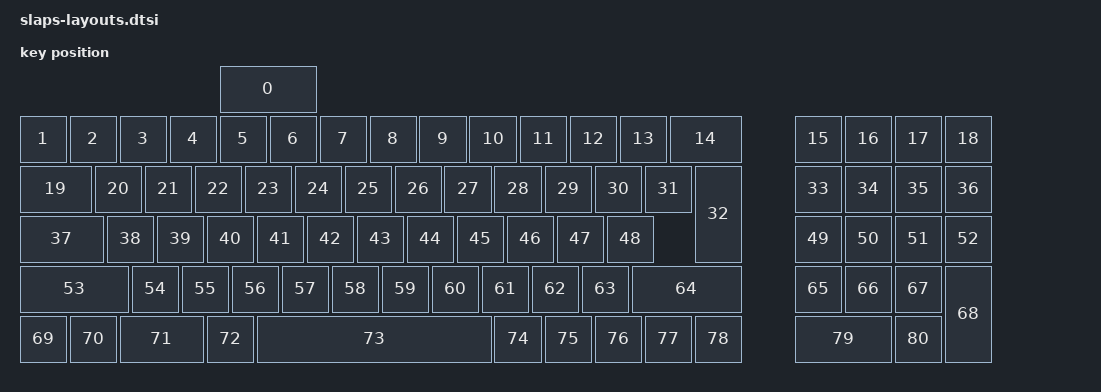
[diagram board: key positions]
#include <physical_layouts.dtsi>

/ {
    layout_0: layout_0 {
        compatible = "zmk,physical-layout";
        display-name = "Layout 0";

        keys  //                     w   h    x    y     rot    rx    ry
            = <&key_physical_attrs 200 100  400    0       0     0     0>
            , <&key_physical_attrs 100 100    0  100       0     0     0>
            , <&key_physical_attrs 100 100  100  100       0     0     0>
            , <&key_physical_attrs 100 100  200  100       0     0     0>
            , <&key_physical_attrs 100 100  300  100       0     0     0>
            , <&key_physical_attrs 100 100  400  100       0     0     0>
            , <&key_physical_attrs 100 100  500  100       0     0     0>
            , <&key_physical_attrs 100 100  600  100       0     0     0>
            , <&key_physical_attrs 100 100  700  100       0     0     0>
            , <&key_physical_attrs 100 100  800  100       0     0     0>
            , <&key_physical_attrs 100 100  900  100       0     0     0>
            , <&key_physical_attrs 100 100 1000  100       0     0     0>
            , <&key_physical_attrs 100 100 1100  100       0     0     0>
            , <&key_physical_attrs 100 100 1200  100       0     0     0>
            , <&key_physical_attrs 150 100 1300  100       0     0     0>
            , <&key_physical_attrs 100 100 1550  100       0     0     0>
            , <&key_physical_attrs 100 100 1650  100       0     0     0>
            , <&key_physical_attrs 100 100 1750  100       0     0     0>
            , <&key_physical_attrs 100 100 1850  100       0     0     0>
            , <&key_physical_attrs 150 100    0  200       0     0     0>
            , <&key_physical_attrs 100 100  150  200       0     0     0>
            , <&key_physical_attrs 100 100  250  200       0     0     0>
            , <&key_physical_attrs 100 100  350  200       0     0     0>
            , <&key_physical_attrs 100 100  450  200       0     0     0>
            , <&key_physical_attrs 100 100  550  200       0     0     0>
            , <&key_physical_attrs 100 100  650  200       0     0     0>
            , <&key_physical_attrs 100 100  750  200       0     0     0>
            , <&key_physical_attrs 100 100  850  200       0     0     0>
            , <&key_physical_attrs 100 100  950  200       0     0     0>
            , <&key_physical_attrs 100 100 1050  200       0     0     0>
            , <&key_physical_attrs 100 100 1150  200       0     0     0>
            , <&key_physical_attrs 100 100 1250  200       0     0     0>
            , <&key_physical_attrs 100 200 1350  200       0     0     0>
            , <&key_physical_attrs 100 100 1550  200       0     0     0>
            , <&key_physical_attrs 100 100 1650  200       0     0     0>
            , <&key_physical_attrs 100 100 1750  200       0     0     0>
            , <&key_physical_attrs 100 100 1850  200       0     0     0>
            , <&key_physical_attrs 175 100    0  300       0     0     0>
            , <&key_physical_attrs 100 100  175  300       0     0     0>
            , <&key_physical_attrs 100 100  275  300       0     0     0>
            , <&key_physical_attrs 100 100  375  300       0     0     0>
            , <&key_physical_attrs 100 100  475  300       0     0     0>
            , <&key_physical_attrs 100 100  575  300       0     0     0>
            , <&key_physical_attrs 100 100  675  300       0     0     0>
            , <&key_physical_attrs 100 100  775  300       0     0     0>
            , <&key_physical_attrs 100 100  875  300       0     0     0>
            , <&key_physical_attrs 100 100  975  300       0     0     0>
            , <&key_physical_attrs 100 100 1075  300       0     0     0>
            , <&key_physical_attrs 100 100 1175  300       0     0     0>
            , <&key_physical_attrs 100 100 1550  300       0     0     0>
            , <&key_physical_attrs 100 100 1650  300       0     0     0>
            , <&key_physical_attrs 100 100 1750  300       0     0     0>
            , <&key_physical_attrs 100 100 1850  300       0     0     0>
            , <&key_physical_attrs 225 100    0  400       0     0     0>
            , <&key_physical_attrs 100 100  225  400       0     0     0>
            , <&key_physical_attrs 100 100  325  400       0     0     0>
            , <&key_physical_attrs 100 100  425  400       0     0     0>
            , <&key_physical_attrs 100 100  525  400       0     0     0>
            , <&key_physical_attrs 100 100  625  400       0     0     0>
            , <&key_physical_attrs 100 100  725  400       0     0     0>
            , <&key_physical_attrs 100 100  825  400       0     0     0>
            , <&key_physical_attrs 100 100  925  400       0     0     0>
            , <&key_physical_attrs 100 100 1025  400       0     0     0>
            , <&key_physical_attrs 100 100 1125  400       0     0     0>
            , <&key_physical_attrs 225 100 1225  400       0     0     0>
            , <&key_physical_attrs 100 100 1550  400       0     0     0>
            , <&key_physical_attrs 100 100 1650  400       0     0     0>
            , <&key_physical_attrs 100 100 1750  400       0     0     0>
            , <&key_physical_attrs 100 200 1850  400       0     0     0>
            , <&key_physical_attrs 100 100    0  500       0     0     0>
            , <&key_physical_attrs 100 100  100  500       0     0     0>
            , <&key_physical_attrs 175 100  200  500       0     0     0>
            , <&key_physical_attrs 100 100  375  500       0     0     0>
            , <&key_physical_attrs 475 100  475  500       0     0     0>
            , <&key_physical_attrs 100 100  950  500       0     0     0>
            , <&key_physical_attrs 100 100 1050  500       0     0     0>
            , <&key_physical_attrs 100 100 1150  500       0     0     0>
            , <&key_physical_attrs 100 100 1250  500       0     0     0>
            , <&key_physical_attrs 100 100 1350  500       0     0     0>
            , <&key_physical_attrs 200 100 1550  500       0     0     0>
            , <&key_physical_attrs 100 100 1750  500       0     0     0>
            ;
    };

    position_map {
        compatible = "zmk,physical-layout-position-map";

        layout_0 {
            physical-layout = <&layout_0>;
            positions = <>;
        };
    };
};
